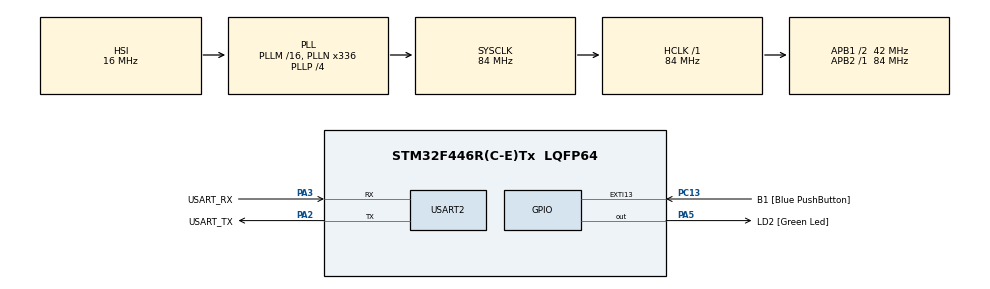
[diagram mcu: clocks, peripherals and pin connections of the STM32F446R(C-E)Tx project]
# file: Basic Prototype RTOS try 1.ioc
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FREERTOS.Mutexes01=systemDataMutex,Dynamic,NULL,Available
FREERTOS.Tasks01=defaultTask,24,128,StartDefaultTask,Default,NULL,Dynamic,NULL,NULL;telemetryTask,40,128,TelemetryTask,Default,NULL,Dynamic,NULL,NULL;sensorTask,41,128,SensorTask,Default,NULL,Dynamic,NULL,NULL;stateManagerTas,42,128,StateManagerTask,Default,NULL,Dynamic,NULL,NULL;errorMonitorTas,25,128,ErrorMonitorTask,Default,NULL,Dynamic,NULL,NULL;flashManagerTas,24,128,FlashManagerTask,Default,NULL,Dynamic,NULL,NULL
Mcu.Family=STM32F4
Mcu.Name=STM32F446R(C-E)Tx
Mcu.Package=LQFP64
NVIC.PriorityGroup=NVIC_PRIORITYGROUP_4
PA13.GPIO_Label=TMS
PA13.Mode=Serial_Wire
PA13.Signal=SYS_JTMS-SWDIO
PA14.GPIO_Label=TCK
PA14.Mode=Serial_Wire
PA14.Signal=SYS_JTCK-SWCLK
PA2.GPIO_Label=USART_TX
PA2.Mode=Asynchronous
PA2.Signal=USART2_TX
PA3.GPIO_Label=USART_RX
PA3.Mode=Asynchronous
PA3.Signal=USART2_RX
PA5.GPIO_Label=LD2 [Green Led]
PA5.Signal=GPIO_Output
PB3.GPIO_Label=SWO
PB3.Signal=SYS_JTDO-SWO
PC13.GPIO_Label=B1 [Blue PushButton]
PC13.GPIO_ModeDefaultEXTI=GPIO_MODE_IT_FALLING
PC13.Signal=GPXTI13
PC14-OSC32_IN.Mode=LSE-External-Oscillator
PC14-OSC32_IN.Signal=RCC_OSC32_IN
PC15-OSC32_OUT.Mode=LSE-External-Oscillator
PC15-OSC32_OUT.Signal=RCC_OSC32_OUT
PH0-OSC_IN.Mode=HSE-External-Oscillator
PH0-OSC_IN.Signal=RCC_OSC_IN
PH1-OSC_OUT.Mode=HSE-External-Oscillator
PH1-OSC_OUT.Signal=RCC_OSC_OUT
ProjectManager.HeapSize=0x200
ProjectManager.StackSize=0x400
ProjectManager.TargetToolchain=STM32CubeIDE
RCC.48MHZClocksFreq_Value=84000000
RCC.AHBFreq_Value=84000000
RCC.APB1CLKDivider=RCC_HCLK_DIV2
RCC.APB1Freq_Value=42000000
RCC.APB1TimFreq_Value=84000000
RCC.APB2Freq_Value=84000000
RCC.APB2TimFreq_Value=84000000
RCC.CortexFreq_Value=84000000
RCC.FLatency-AdvancedSettings=FLASH_LATENCY_2
RCC.HCLKFreq_Value=84000000
RCC.HSE_VALUE=8000000
RCC.HSI_VALUE=16000000
RCC.PLLN=336
RCC.PLLP=RCC_PLLP_DIV4
RCC.SYSCLKFreq_VALUE=84000000
RCC.SYSCLKSource=RCC_SYSCLKSOURCE_PLLCLK
RCC.USBFreq_Value=168000000
RCC.VCOOutputFreq_Value=336000000
USART2.VirtualMode=VM_ASYNC
VP_FREERTOS_VS_CMSIS_V2.Mode=CMSIS_V2
board=NUCLEO-F446RE

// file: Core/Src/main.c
/* USER CODE BEGIN Header */
/**
  ******************************************************************************
  * @file           : main.c
  * @brief          : Main program body
  ******************************************************************************
  * @attention
  *
  * Copyright (c) 2025 STMicroelectronics.
  * All rights reserved.
  *
  * This software is licensed under terms that can be found in the LICENSE file
  * in the root directory of this software component.
  * If no LICENSE file comes with this software, it is provided AS-IS.
  *
  ******************************************************************************
  */
/* USER CODE END Header */
#include "main.h"
#include "cmsis_os.h"

/* USER CODE BEGIN Includes */
#include "stdio.h"
#include "string.h"

/* USER CODE END Includes */

/* USER CODE BEGIN PD */
#define MAX_TELEM_LENGTH 256
#define TEAM_ID "2024-ASI-050"
#define TELEM_RATE_MS 100  // 10Hz telemetry rate
#define ACK_TIMEOUT_MS 5000
#define FLASH_SAVE_INTERVAL_MS 5000
#define BUTTON_DEBOUNCE_MS 300
#define STACK_SIZE 1024
/* USER CODE END PD */

UART_HandleTypeDef huart2;

/* Definitions for defaultTask */
osThreadId_t defaultTaskHandle;
const osThreadAttr_t defaultTask_attributes = {
  .name = "defaultTask",
  .stack_size = 128 * 4,
  .priority = (osPriority_t) osPriorityNormal,
};
/* Definitions for telemetryTask */
osThreadId_t telemetryTaskHandle;
const osThreadAttr_t telemetryTask_attributes = {
  .name = "telemetryTask",
  .stack_size = 128 * 4,
  .priority = (osPriority_t) osPriorityHigh,
};
/* Definitions for sensorTask */
osThreadId_t sensorTaskHandle;
const osThreadAttr_t sensorTask_attributes = {
  .name = "sensorTask",
  .stack_size = 128 * 4,
  .priority = (osPriority_t) osPriorityHigh1,
};
/* Definitions for stateManagerTas */
osThreadId_t stateManagerTaskHandle;
const osThreadAttr_t stateManagerTask_attributes = {
  .name = "stateManagerTask",
  .stack_size = 128 * 4,
  .priority = (osPriority_t) osPriorityHigh2,
};
/* Definitions for errorMonitorTas */
osThreadId_t errorMonitorTaskHandle;
const osThreadAttr_t errorMonitorTask_attributes = {
  .name = "errorMonitorTask",
  .stack_size = 128 * 4,
  .priority = (osPriority_t) osPriorityNormal1,
};
/* Definitions for flashManagerTas */
osThreadId_t flashManagerTaskHandle;
const osThreadAttr_t flashManagerTask_attributes = {
  .name = "flashManagerTask",
  .stack_size = 128 * 4,
  .priority = (osPriority_t) osPriorityNormal,
};
/* Definitions for systemDataMutex */
osMutexId_t systemDataMutexHandle;
const osMutexAttr_t systemDataMutex_attributes = {
  .name = "systemDataMutex"
};
/* USER CODE BEGIN PV */
typedef enum {
    STATE_IDLE,
    STATE_ARMED,
    STATE_LAUNCH,
    STATE_ASCENT,
    STATE_DESCENT,
    STATE_RECOVERY
} SystemState;

// Error Flags
typedef uint16_t ErrorFlags;
#define E_NONE      	0x0000
#define E_BATT      	0x0001
#define E_COMM_LOS  	0x0002
#define E_COMM_DEL  	0x0004
#define E_MEM       	0x0008
#define E_SD        	0x0010
#define E_FLASH     	0x0020
#define E_OVER_MB   	0x0040
#define E_OVER_AB   	0x0080
#define E_TRAJECTORY 	0x0100
#define E_PARA      	0x0200
#define E_PAYLOAD   	0x0400

/* USER CODE END PV */

void SystemClock_Config(void);
static void MX_GPIO_Init(void);
static void MX_USART2_UART_Init(void);
void StartDefaultTask(void *argument);
void TelemetryTask(void *argument);
void SensorTask(void *argument);
void StateManagerTask(void *argument);
void ErrorMonitorTask(void *argument);
void FlashManagerTask(void *argument);

/* USER CODE BEGIN PFP */
void InitializeSystem(void);
void SaveToFlash(void);
void RestoreFromFlash(void);
void SimulateSDCardWrite(const char* data);
ErrorFlags CheckSystemErrors(void);

/* USER CODE END PFP */

/* USER CODE BEGIN 0 */
int __io_putchar(int ch) {
    HAL_UART_Transmit(&huart2, (uint8_t *)&ch, 1, HAL_MAX_DELAY);
    return ch;
}

void DebugPrint(const char* message) {
    HAL_UART_Transmit(&huart2, (uint8_t*)message, strlen(message), 100);
}

void LogError(const char* message) {
    char errorMsg[100];
    snprintf(errorMsg, sizeof(errorMsg), "ERROR: %s [Time: %lu]\r\n",
             message, HAL_GetTick());
    HAL_UART_Transmit(&huart2, (uint8_t*)errorMsg, strlen(errorMsg), 100);
}

typedef struct {
    SystemState currentState;
    uint32_t packetCount;
    uint32_t missionTime;
    ErrorFlags errorFlags;
    float altitude;
    float pressure;
    float tempAB;
    float voltage;
    float gnssTime;
    float gnssLat;
    float gnssLong;
    float gnssAlt;
    uint8_t gnssSats;
    float accelData[3];
    float gyroData[3];
    float tempMB;
    uint8_t ackReceived;
    uint32_t lastAckTime;
    uint32_t lastButtonPress;  // Added for button debouncing

} SystemData;

osMutexId_t systemDataMutex;

SystemData systemData = {0};

void SimulateSDCardWrite(const char* data) {
    printf("SD Card Write: %s", data);
}

ErrorFlags CheckSystemErrors(void) {
    ErrorFlags flags = E_NONE;

    // Check various error conditions
    if(systemData.voltage < 3.3f) flags |= E_BATT;
    // Add other error checks

    return flags;
}

//void InitializeSystem(void) {
//    DebugPrint("Starting system initialization...\r\n");
//
//    // Initialize mutex
//    systemDataMutex = osMutexNew(NULL);
//    if (systemDataMutex == NULL) {
//        DebugPrint("Failed to create mutex!\r\n");
//        return;
//    }
//
//    // Initialize system data
//    memset(&systemData, 0, sizeof(SystemData));
//    systemData.currentState = STATE_IDLE;
//
//    // Create tasks with error checking
//    const osThreadAttr_t normalPriority = {
//        .priority = osPriorityNormal,
//        .stack_size = 512
//    };
//    const osThreadAttr_t highPriority = {
//        .priority = osPriorityHigh,
//        .stack_size = 512
//    };
//
//    sensorTaskHandle = osThreadNew(SensorTask, NULL, &highPriority);
//    if (sensorTaskHandle == NULL) {
//        DebugPrint("Failed to create sensor task!\r\n");
//        return;
//    }
//
//    telemetryTaskHandle = osThreadNew(TelemetryTask, NULL, &normalPriority);
//    if (telemetryTaskHandle == NULL) {
//        DebugPrint("Failed to create telemetry task!\r\n");
//        return;
//    }
//
//    stateManagerTaskHandle = osThreadNew(StateManagerTask, NULL, &highPriority);
//    if (stateManagerTaskHandle == NULL) {
//        DebugPrint("Failed to create state manager task!\r\n");
//        return;
//    }
//
//    errorMonitorTaskHandle = osThreadNew(ErrorMonitorTask, NULL, &normalPriority);
//    if (errorMonitorTaskHandle == NULL) {
//        DebugPrint("Failed to create error monitor task!\r\n");
//        return;
//    }
//
//    flashManagerTaskHandle = osThreadNew(FlashManagerTask, NULL, &normalPriority);
//    if (flashManagerTaskHandle == NULL) {
//        DebugPrint("Failed to create flash manager task!\r\n");
//        return;
//    }
//
//    DebugPrint("System initialization complete!\r\n");
//}

/* USER CODE END 0 */

int main(void)
{

  /* MCU Configuration--------------------------------------------------------*/

  /* Reset of all peripherals, Initializes the Flash interface and the Systick. */
  HAL_Init();

  /* Configure the system clock */
  SystemClock_Config();

  /* Initialize all configured peripherals */
  MX_GPIO_Init();
  MX_USART2_UART_Init();

  /* Init scheduler */
  osKernelInitialize();
  /* Create the mutex(es) */
  /* creation of systemDataMutex */
  systemDataMutexHandle = osMutexNew(&systemDataMutex_attributes);

  /* USER CODE BEGIN RTOS_MUTEX */
  if (systemDataMutexHandle == NULL) {
    Error_Handler();
  }
  memset(&systemData, 0, sizeof(SystemData));
  systemData.currentState = STATE_IDLE;
  /* add mutexes, ... */
  /* USER CODE END RTOS_MUTEX */

  /* Create the thread(s) */
  /* creation of defaultTask */
  defaultTaskHandle = osThreadNew(StartDefaultTask, NULL, &defaultTask_attributes);

  /* creation of telemetryTask */
  telemetryTaskHandle = osThreadNew(TelemetryTask, NULL, &telemetryTask_attributes);

  /* creation of sensorTask */
  sensorTaskHandle = osThreadNew(SensorTask, NULL, &sensorTask_attributes);

  /* creation of stateManagerTas */
  stateManagerTaskHandle = osThreadNew(StateManagerTask, NULL, &stateManagerTask_attributes);

  /* creation of errorMonitorTas */
  errorMonitorTaskHandle = osThreadNew(ErrorMonitorTask, NULL, &errorMonitorTask_attributes);

  /* creation of flashManagerTas */
  flashManagerTaskHandle = osThreadNew(FlashManagerTask, NULL, &flashManagerTask_attributes);

  /* USER CODE BEGIN RTOS_THREADS */
  if (!defaultTaskHandle || !telemetryTaskHandle || !sensorTaskHandle ||
      !stateManagerTaskHandle || !errorMonitorTaskHandle || !flashManagerTaskHandle) {
    Error_Handler();
  }

  /* add threads, ... */
  /* USER CODE END RTOS_THREADS */

  /* Start scheduler */
  osKernelStart();

  /* We should never get here as control is now taken by the scheduler */

  /* Infinite loop */
  while (1)
  {

  }
}

void SystemClock_Config(void)
{
  RCC_OscInitTypeDef RCC_OscInitStruct = {0};
  RCC_ClkInitTypeDef RCC_ClkInitStruct = {0};

  /** Configure the main internal regulator output voltage
  */
  __HAL_RCC_PWR_CLK_ENABLE();
  __HAL_PWR_VOLTAGESCALING_CONFIG(PWR_REGULATOR_VOLTAGE_SCALE3);

  /** Initializes the RCC Oscillators according to the specified parameters
  * in the RCC_OscInitTypeDef structure.
  */
  RCC_OscInitStruct.OscillatorType = RCC_OSCILLATORTYPE_HSI;
  RCC_OscInitStruct.HSIState = RCC_HSI_ON;
  RCC_OscInitStruct.HSICalibrationValue = RCC_HSICALIBRATION_DEFAULT;
  RCC_OscInitStruct.PLL.PLLState = RCC_PLL_ON;
  RCC_OscInitStruct.PLL.PLLSource = RCC_PLLSOURCE_HSI;
  RCC_OscInitStruct.PLL.PLLM = 16;
  RCC_OscInitStruct.PLL.PLLN = 336;
  RCC_OscInitStruct.PLL.PLLP = RCC_PLLP_DIV4;
  RCC_OscInitStruct.PLL.PLLQ = 2;
  RCC_OscInitStruct.PLL.PLLR = 2;
  if (HAL_RCC_OscConfig(&RCC_OscInitStruct) != HAL_OK)
  {
    Error_Handler();
  }

  /** Initializes the CPU, AHB and APB buses clocks
  */
  RCC_ClkInitStruct.ClockType = RCC_CLOCKTYPE_HCLK|RCC_CLOCKTYPE_SYSCLK
                              |RCC_CLOCKTYPE_PCLK1|RCC_CLOCKTYPE_PCLK2;
  RCC_ClkInitStruct.SYSCLKSource = RCC_SYSCLKSOURCE_PLLCLK;
  RCC_ClkInitStruct.AHBCLKDivider = RCC_SYSCLK_DIV1;
  RCC_ClkInitStruct.APB1CLKDivider = RCC_HCLK_DIV2;
  RCC_ClkInitStruct.APB2CLKDivider = RCC_HCLK_DIV1;

  if (HAL_RCC_ClockConfig(&RCC_ClkInitStruct, FLASH_LATENCY_2) != HAL_OK)
  {
    Error_Handler();
  }
}

static void MX_USART2_UART_Init(void)
{

  huart2.Instance = USART2;
  huart2.Init.BaudRate = 115200;
  huart2.Init.WordLength = UART_WORDLENGTH_8B;
  huart2.Init.StopBits = UART_STOPBITS_1;
  huart2.Init.Parity = UART_PARITY_NONE;
  huart2.Init.Mode = UART_MODE_TX_RX;
  huart2.Init.HwFlowCtl = UART_HWCONTROL_NONE;
  huart2.Init.OverSampling = UART_OVERSAMPLING_16;
  if (HAL_UART_Init(&huart2) != HAL_OK)
  {
    Error_Handler();
  }

}

static void MX_GPIO_Init(void)
{
  GPIO_InitTypeDef GPIO_InitStruct = {0};

  /* GPIO Ports Clock Enable */
  __HAL_RCC_GPIOC_CLK_ENABLE();
  __HAL_RCC_GPIOH_CLK_ENABLE();
  __HAL_RCC_GPIOA_CLK_ENABLE();
  __HAL_RCC_GPIOB_CLK_ENABLE();

  /*Configure GPIO pin Output Level */
  HAL_GPIO_WritePin(LD2_GPIO_Port, LD2_Pin, GPIO_PIN_RESET);

  /*Configure GPIO pin : B1_Pin */
  GPIO_InitStruct.Pin = B1_Pin;
  GPIO_InitStruct.Mode = GPIO_MODE_IT_FALLING;
  GPIO_InitStruct.Pull = GPIO_NOPULL;
  HAL_GPIO_Init(B1_GPIO_Port, &GPIO_InitStruct);

  /*Configure GPIO pin : LD2_Pin */
  GPIO_InitStruct.Pin = LD2_Pin;
  GPIO_InitStruct.Mode = GPIO_MODE_OUTPUT_PP;
  GPIO_InitStruct.Pull = GPIO_NOPULL;
  GPIO_InitStruct.Speed = GPIO_SPEED_FREQ_LOW;
  HAL_GPIO_Init(LD2_GPIO_Port, &GPIO_InitStruct);

}

void StartDefaultTask(void *argument)
{
  for(;;)
  {
    osDelay(1);
  }
}

void TelemetryTask(void *argument)
{
  /* USER CODE BEGIN TelemetryTask */
	  char telemString[MAX_TELEM_LENGTH];
	  uint32_t last_wake_time = osKernelGetTickCount();

	  DebugPrint("Telemetry task started\r\n");

  /* Infinite loop */
  for(;;)
  {
	    osStatus_t status = osMutexAcquire(systemDataMutexHandle, 100);
	    if (status == osOK) {
	      // Format telemetry string
	      snprintf(telemString, MAX_TELEM_LENGTH,
	              "#%s,%lu,%lu,%.2f,%.2f,%.2f,%.2f,%.2f,%.6f,%.6f,%.2f,%d,%.2f,%.2f,%d,%.2f,%u$\r\n",
	              TEAM_ID,
	              systemData.missionTime,
	              systemData.packetCount,
	              systemData.altitude,
	              systemData.pressure,
	              systemData.tempAB,
	              systemData.voltage,
	              systemData.gnssTime,
	              systemData.gnssLat,
	              systemData.gnssLong,
	              systemData.gnssAlt,
	              systemData.gnssSats,
	              systemData.accelData[0],
	              systemData.gyroData[0],
	              systemData.currentState,
	              systemData.tempMB,
	              systemData.errorFlags);

	      // Send via UART with error checking
	      if (HAL_UART_Transmit(&huart2, (uint8_t*)telemString, strlen(telemString), 100) != HAL_OK) {
	        systemData.errorFlags |= E_COMM_DEL;
	      }

	      systemData.packetCount++;
	      systemData.missionTime = HAL_GetTick();

	      osMutexRelease(systemDataMutexHandle);
	    }

	    // Use absolute timing for consistent period
	    osDelayUntil(last_wake_time + TELEM_RATE_MS);
	    last_wake_time = osKernelGetTickCount();
  }
  /* USER CODE END TelemetryTask */
}

void SensorTask(void *argument)
{
  /* USER CODE BEGIN SensorTask */
	  uint32_t last_wake_time = osKernelGetTickCount();

	  DebugPrint("Sensor task started\r\n");

  /* Infinite loop */
  for(;;)
  {
	    osStatus_t status = osMutexAcquire(systemDataMutexHandle, 50);
	    if (status == osOK) {
	      // Simulate sensor readings
	      systemData.altitude += 0.1f;
	      systemData.pressure = 101325.0f - (systemData.altitude * 12.0f);
	      systemData.tempAB = 25.0f;
	      systemData.voltage = 3.7f; // Simulate battery voltage

	      osMutexRelease(systemDataMutexHandle);
	    }

	    // Use absolute timing
	    osDelayUntil(last_wake_time + 10);  // 100Hz
	    last_wake_time = osKernelGetTickCount();

  }
  /* USER CODE END SensorTask */
}

void StateManagerTask(void *argument)
{
  /* USER CODE BEGIN StateManagerTask */
    DebugPrint("State manager task started\r\n");

    const char* stateNames[] = {
        "IDLE", "ARMED", "LAUNCH", "ASCENT", "DESCENT", "RECOVERY"
    };

  /* Infinite loop */
  for(;;)
  {
      if (osMutexAcquire(systemDataMutex, 100) == osOK) {
          // Check button press with debouncing
          if (HAL_GPIO_ReadPin(B1_GPIO_Port, B1_Pin) == GPIO_PIN_RESET) {
              uint32_t currentTime = HAL_GetTick();

              if (currentTime - systemData.lastButtonPress > BUTTON_DEBOUNCE_MS) {
                  SystemState nextState = systemData.currentState;

                  // State transition logic
                  switch(systemData.currentState) {
                      case STATE_IDLE:
                          nextState = STATE_ARMED;
                          break;
                      case STATE_ARMED:
                          nextState = STATE_LAUNCH;
                          break;
                      case STATE_LAUNCH:
                          nextState = STATE_ASCENT;
                          break;
                      case STATE_ASCENT:
                          nextState = STATE_DESCENT;
                          break;
                      case STATE_DESCENT:
                          nextState = STATE_RECOVERY;
                          break;
                      case STATE_RECOVERY:
                          nextState = STATE_IDLE;
                          break;
                  }

                  if (nextState != systemData.currentState) {
                      char stateMsg[50];
                      snprintf(stateMsg, sizeof(stateMsg),
                              "State changed to: %s\r\n",
                              stateNames[nextState]);
                      DebugPrint(stateMsg);
                      systemData.currentState = nextState;
                  }

                  systemData.lastButtonPress = currentTime;
              }
          }

          osMutexRelease(systemDataMutex);
      }
      osDelay(10);
  }
  /* USER CODE END StateManagerTask */
}

void ErrorMonitorTask(void *argument)
{
  /* USER CODE BEGIN ErrorMonitorTask */
  /* Infinite loop */
  for(;;)
  {
      osMutexAcquire(systemDataMutex, osWaitForever);
      systemData.errorFlags = CheckSystemErrors();
      osMutexRelease(systemDataMutex);

      osDelay(100);  // Check errors every 100ms
  }
  /* USER CODE END ErrorMonitorTask */
}

void FlashManagerTask(void *argument)
{
  /* USER CODE BEGIN FlashManagerTask */
  /* Infinite loop */
  for(;;)
  {
      osMutexAcquire(systemDataMutex, osWaitForever);
//      SaveToFlash();  // Save critical data periodically
      osMutexRelease(systemDataMutex);

      osDelay(FLASH_SAVE_INTERVAL_MS);
  }
  /* USER CODE END FlashManagerTask */
}

void Error_Handler(void)
{
  __disable_irq();
  while (1)
  {
  }
}
